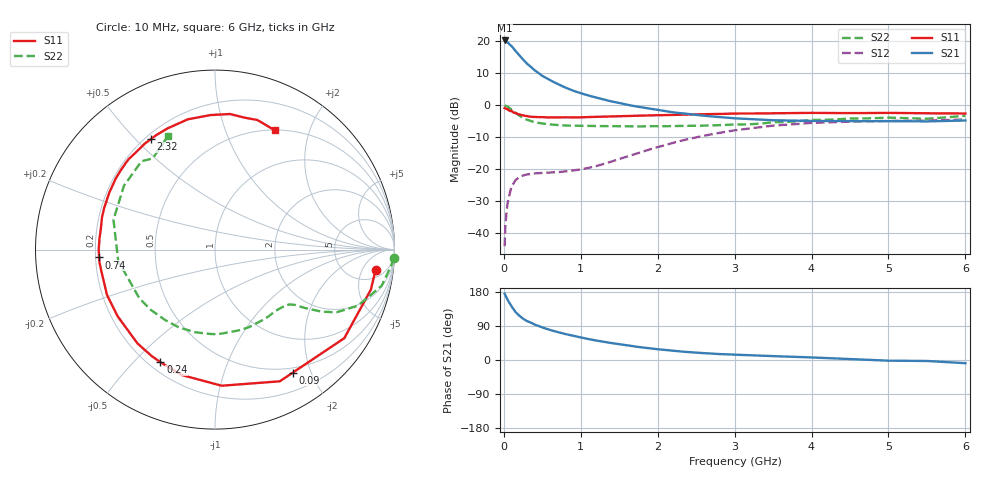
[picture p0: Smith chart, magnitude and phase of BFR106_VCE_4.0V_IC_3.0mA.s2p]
! Infineon Technologies  Discrete & RF Semiconductors
! BFR106
! VCE =  4.0 V,  IC =  3.0 mA
! Common Emitter S-Parameters:  Nov 2015
# GHz  S  MA  R  50
!  f  S11  S21  S12  S22
! GHz  MAG  ANG  MAG  ANG  MAG  ANG  MAG  ANG
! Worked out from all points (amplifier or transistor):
!   210 points, 10 MHz to 6 GHz, reference 50 ohm
!   highest |S21| = 20.2 dB at 10 MHz (marker M1)
!   |S21| within 3 dB of that: start of sweep to 142.4 MHz
!   unconditionally stable (mu >= 1): 718 MHz to 1.879 GHz; 4.207 GHz to end of sweep
!   at 185 MHz: K = 0.29, MSG = 19.4 dB, |S12| = -22.7 dB
!   at 1.52 GHz: K = 1.14, MAG = 6.3 dB, |S12| = -16.6 dB
!   at 6 GHz: K = 1.02, MAG = -1.1 dB, |S12| = -4.4 dB
!   S11 on the Smith chart (normalised r, x): 10 MHz: 8, -10; 90 MHz: 0.43, -1.73; 240 MHz: 0.25, -0.60; 740 MHz: 0.21, -0.03; 2.32 GHz: 0.22, +0.55; 6 GHz: 0.51, +1.50
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0.01  0.902 -7.1  10.27 175.0  0.0063 87.1  0.9962 -2.7
0.02  0.8966 -14.4  10.24 171.1  0.0128 84.8  0.986 -5.2
0.05  0.8732 -34.4  9.603 158.0  0.03 72.7  0.9498 -12.3
0.09  0.8109 -57.7  8.586 144.8  0.0483 59.8  0.8729 -19.4
0.1  0.8178 -63.8  8.413 141.1  0.0531 58.0  0.856 -21.4
0.15  0.7594 -87.2  7.1 126.6  0.0673 47.2  0.7614 -27.3
0.2  0.7229 -104.9  6.043 117.1  0.0756 41.3  0.6904 -30.1
0.24  0.6972 -115.9  5.328 110.6  0.0792 37.6  0.6432 -31.5
0.26  0.6897 -120.9  5.02 107.7  0.0807 36.2  0.6239 -32.1
0.3  0.678 -129.6  4.473 102.8  0.083 34.4  0.5938 -33.1
0.4  0.6574 -145.6  3.516 93.5  0.0863 31.6  0.5434 -34.6
0.5  0.6527 -157.1  2.873 85.6  0.0878 31.4  0.5171 -36.2
0.6  0.6445 -166.4  2.453 79.1  0.089 33.2  0.501 -38.5
0.74  0.647 -176.1  2.038 71.7  0.091 37.1  0.4872 -42.4
1.02  0.6483 168.0  1.513 58.5  0.1004 47.9  0.4769 -51.3
1.4  0.6691 151.6  1.146 44.7  0.1318 61.0  0.4719 -66.2
2.02  0.698 129.7  0.84 28.0  0.2256 65.1  0.4704 -94.9
2.32  0.7119 120.3  0.747 22.2  0.2817 62.1  0.4739 -110.5
3.1  0.7414 99.8  0.616 13.4  0.4193 47.1  0.5008 -152.8
4.1  0.7579 82.4  0.568 5.9  0.5345 25.3  0.5904 159.8
5.1  0.7569 70.9  0.564 -2.0  0.5704 8.3  0.6348 128.7
6  0.7426 63.4  0.578 -8.4  0.6009 -2.9  0.6844 112.5
